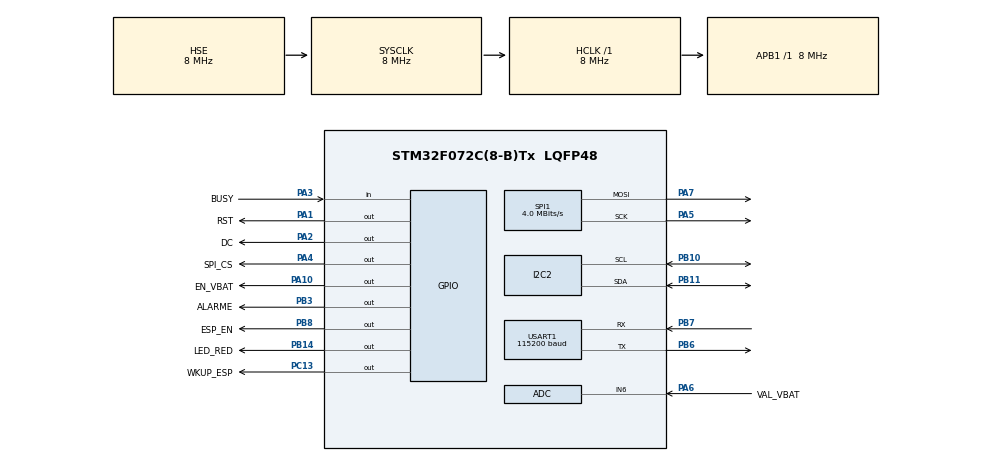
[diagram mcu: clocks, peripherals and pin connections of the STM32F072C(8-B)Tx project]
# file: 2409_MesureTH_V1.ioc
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Mcu.Family=STM32F0
Mcu.Name=STM32F072C(8-B)Tx
Mcu.Package=LQFP48
NVIC.TIM6_DAC_IRQn=true\:0\:0\:false\:false\:true\:true\:true\:true
PA1.GPIO_Label=RST
PA1.Signal=GPIO_Output
PA10.GPIO_Label=EN_VBAT
PA10.Signal=GPIO_Output
PA13.Mode=Serial_Wire
PA13.Signal=SYS_SWDIO
PA14.Mode=Serial_Wire
PA14.Signal=SYS_SWCLK
PA2.GPIO_Label=DC
PA2.Signal=GPIO_Output
PA3.GPIO_Label=BUSY
PA3.Signal=GPIO_Input
PA4.GPIO_Label=SPI_CS
PA4.PinState=GPIO_PIN_SET
PA4.Signal=GPIO_Output
PA5.Mode=TX_Only_Simplex_Unidirect_Master
PA5.Signal=SPI1_SCK
PA6.GPIO_Label=VAL_VBAT
PA6.Mode=IN6
PA6.Signal=ADC_IN6
PA7.Mode=TX_Only_Simplex_Unidirect_Master
PA7.Signal=SPI1_MOSI
PB10.Mode=I2C
PB10.Signal=I2C2_SCL
PB11.Mode=I2C
PB11.Signal=I2C2_SDA
PB14.GPIO_Label=LED_RED
PB14.Signal=GPIO_Output
PB3.GPIO_Label=ALARME
PB3.Signal=GPIO_Output
PB5.Mode=SYS_WakeUp5
PB5.Signal=SYS_WKUP6
PB6.Mode=Asynchronous
PB6.Signal=USART1_TX
PB7.Mode=Asynchronous
PB7.Signal=USART1_RX
PB8.GPIO_Label=ESP_EN
PB8.PinState=GPIO_PIN_SET
PB8.Signal=GPIO_Output
PC13.GPIO_Label=WKUP_ESP
PC13.Signal=GPIO_Output
PF0-OSC_IN.Mode=HSE-External-Oscillator
PF0-OSC_IN.Signal=RCC_OSC_IN
PF1-OSC_OUT.Mode=HSE-External-Oscillator
PF1-OSC_OUT.Signal=RCC_OSC_OUT
ProjectManager.HeapSize=0x1000
ProjectManager.StackSize=0x400
ProjectManager.TargetToolchain=MDK-ARM V5.32
RCC.AHBFreq_Value=8000000
RCC.APB1Freq_Value=8000000
RCC.APB1TimFreq_Value=8000000
RCC.EnbaleCSS=true
RCC.HCLKFreq_Value=8000000
RCC.PLLSourceVirtual=RCC_PLLSOURCE_HSE
RCC.SYSCLKFreq_VALUE=8000000
RCC.SYSCLKSource=RCC_SYSCLKSOURCE_HSE
SPI1.BaudRatePrescaler=SPI_BAUDRATEPRESCALER_2
SPI1.CalculateBaudRate=4.0 MBits/s
SPI1.DataSize=SPI_DATASIZE_8BIT
SPI1.Direction=SPI_DIRECTION_2LINES
SPI1.Mode=SPI_MODE_MASTER
SPI1.VirtualType=VM_MASTER
TIM6.Period=39999
TIM6.Prescaler=1
USART1.BaudRate=115200
USART1.VirtualMode-Asynchronous=VM_ASYNC
VP_RTC_VS_RTC_Activate.Mode=RTC_Enabled
VP_TIM6_VS_ClockSourceINT.Mode=Enable_Timer
board=custom

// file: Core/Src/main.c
/* USER CODE BEGIN Header */
/**
  ******************************************************************************
  * @file           : main.c
  * @brief          : Main program body
  ******************************************************************************
  * @attention
  *
  * Copyright (c) 2024 STMicroelectronics.
  * All rights reserved.
  *
  * This software is licensed under terms that can be found in the LICENSE file
  * in the root directory of this software component.
  * If no LICENSE file comes with this software, it is provided AS-IS.
  *
  ******************************************************************************
  */
/* USER CODE END Header */
#include "main.h"

/* USER CODE BEGIN Includes */
#include <stdbool.h>
//#include "stm32f0xx.h"
#include "mesures.h"
#include "affichage.h"
#include "gestionBatterie.h"
#include "communication.h"
#include "sommeil.h"
#include "EPD_2in13_V4.h" // TEMP
/* USER CODE END Includes */

ADC_HandleTypeDef hadc;

I2C_HandleTypeDef hi2c2;

RTC_HandleTypeDef hrtc;

SPI_HandleTypeDef hspi1;

TIM_HandleTypeDef htim6;

UART_HandleTypeDef huart1;

/* USER CODE BEGIN PV */

EtatSTM etatSTM = INITIALISATION;

// Variables mesures
Mesures mesures;

// https://www.arduino.cc/reference/en/language/variables/data-types/array/
DefinitionValeur valeursServeur[] = {
	{ "seuilTemperatureMin", 2 },
  { "seuilTemperatureMax", 8 },
  { "ecartTemperature", 1 },
  { "seuilHumiditeMin", 30 },
  { "seuilHumiditeMax", 60 },
  { "ecartHumidite", 5},
};

// Variables affichage
bool rafraichirEPaper = false;
bool receptionTramesEspTermine = false;

// Variables batterie
InfoBatterie infoBatterie;

/* USER CODE END PV */

void SystemClock_Config(void);
static void MX_GPIO_Init(void);
static void MX_ADC_Init(void);
static void MX_I2C2_Init(void);
static void MX_SPI1_Init(void);
static void MX_USART1_UART_Init(void);
static void MX_TIM6_Init(void);
static void MX_RTC_Init(void);

int main(void)
{

  /* MCU Configuration--------------------------------------------------------*/

  /* Reset of all peripherals, Initializes the Flash interface and the Systick. */
  HAL_Init();

  /* Configure the system clock */
  SystemClock_Config();

  /* Initialize all configured peripherals */
  MX_GPIO_Init();
  MX_ADC_Init();
  MX_I2C2_Init();
  MX_SPI1_Init();
  MX_USART1_UART_Init();
  MX_TIM6_Init();
  MX_RTC_Init();

  /* Infinite loop */
  while (1)
  {

    /* USER CODE BEGIN 3 */

		switch(etatSTM)
		{
			case INITIALISATION:
				Initialisation(); // Initialisation au lancement du STM
				etatSTM = RECEPTION; // Pret à recevoir les données de la part de l'ESP
				break;
			case RECEPTION:

				// Note: la fréquence d'exécution de l'état RECEPTION est lié au timeout de la réception UART (define UART_TIMEOUT)
				ReceptionnerTrameUART(&huart1, valeursServeur);

				// On vérifie que receptionTramesEspTermine pour être sûr qu'on a bien été réveillé par l'ESP
				// On vérifie que HAL_GPIO_ReadPin(REVEIL_GPIO_Port, REVEIL_Pin) est GPIO_PIN_RESET pour être sûr que l'ESP à fini d'envoyer ses trames UART
				if(receptionTramesEspTermine == true && HAL_GPIO_ReadPin(REVEIL_GPIO_Port, REVEIL_Pin) == GPIO_PIN_RESET)
				{
					receptionTramesEspTermine = false;
					etatSTM = VERIFIER_BATTERIE; // Passage à l'étape suivante
				}
				break;
			case VERIFIER_BATTERIE:
			{
				bool besoinMesurerEtatBatterie = GestionCheckBatterie(&hadc, &htim6, &infoBatterie);
				if(besoinMesurerEtatBatterie == true)
				{
					etatSTM = MESURER_BATTERIE; // Une mesure de l'état de la batterie est nécessaire
				}
				else
				{
					etatSTM = MESURER_SONDE;
				}
				break;
			}
			case MESURER_BATTERIE:
			{
				// Attente que le compteur décrémenté par l'interruption timer atteigne 0 (délai entre activation transistor et mesure)
				if(infoBatterie.compteurCheckBatterie <= 0)
				{
					Etat nouvelEtatBatterie = MesurerEtatBatterie(&hadc, &htim6, &infoBatterie); // Procéder à la mesure de l'état de la batterie
					if(nouvelEtatBatterie != infoBatterie.etatBatterie)
					{
						infoBatterie.etatBatterie = nouvelEtatBatterie;
						EnvoyerTrameUART(&huart1, ETAT_BATTERIE, infoBatterie.etatBatterie); // Indiquer à l'ESP que l'état de la batterie à changé
					}
					etatSTM = MESURER_SONDE;
				}
				break;
			}
			case MESURER_SONDE:
			{
				Etat nouvelEtatSeuils = EffectuerMesuresSonde(&hi2c2, &mesures, valeursServeur); // Procéder aux mesures de la température et de l'humidité
				if(nouvelEtatSeuils != mesures.etatSeuils)
				{
					mesures.etatSeuils = nouvelEtatSeuils;
					EnvoyerTrameUART(&huart1, ETAT_SEUILS, mesures.etatSeuils); // Indiquer à l'ESP que l'état de l'alarme à changé
				}

				// Indiquer à l'ESP qu'on a fini d'envoyer les trames UART pour qu'il puisse se rendormir (si ne l'est pas déjà)
				HAL_GPIO_WritePin(ALARME_GPIO_Port, ALARME_Pin, GPIO_PIN_RESET);

				// Si un rafraichissement de l'écran est nécessaire
				if(rafraichirEPaper == true)
				{
					etatSTM = RAFRAICHIR_EPAPER;
				}
				else
				{
					etatSTM = SOMMEIL;
				}

				break;
			}
			case RAFRAICHIR_EPAPER:
				rafraichirEPaper = false;
				AffichageEPaper(&mesures, valeursServeur); // Procéder au rafraichissement de l'écran
				etatSTM = SOMMEIL;
				break;
			case SOMMEIL:
				EntrerModeSommeil();
				etatSTM = REVEIL;
				break;
			case REVEIL:
				etatSTM = RECEPTION;
				break;
		}
  }
  /* USER CODE END 3 */
}

void SystemClock_Config(void)
{
  RCC_OscInitTypeDef RCC_OscInitStruct = {0};
  RCC_ClkInitTypeDef RCC_ClkInitStruct = {0};
  RCC_PeriphCLKInitTypeDef PeriphClkInit = {0};

  /** Initializes the RCC Oscillators according to the specified parameters
  * in the RCC_OscInitTypeDef structure.
  */
  RCC_OscInitStruct.OscillatorType = RCC_OSCILLATORTYPE_HSI14|RCC_OSCILLATORTYPE_LSI
                              |RCC_OSCILLATORTYPE_HSE;
  RCC_OscInitStruct.HSEState = RCC_HSE_ON;
  RCC_OscInitStruct.HSI14State = RCC_HSI14_ON;
  RCC_OscInitStruct.HSI14CalibrationValue = 16;
  RCC_OscInitStruct.LSIState = RCC_LSI_ON;
  RCC_OscInitStruct.PLL.PLLState = RCC_PLL_NONE;
  if (HAL_RCC_OscConfig(&RCC_OscInitStruct) != HAL_OK)
  {
    Error_Handler();
  }

  /** Initializes the CPU, AHB and APB buses clocks
  */
  RCC_ClkInitStruct.ClockType = RCC_CLOCKTYPE_HCLK|RCC_CLOCKTYPE_SYSCLK
                              |RCC_CLOCKTYPE_PCLK1;
  RCC_ClkInitStruct.SYSCLKSource = RCC_SYSCLKSOURCE_HSE;
  RCC_ClkInitStruct.AHBCLKDivider = RCC_SYSCLK_DIV1;
  RCC_ClkInitStruct.APB1CLKDivider = RCC_HCLK_DIV1;

  if (HAL_RCC_ClockConfig(&RCC_ClkInitStruct, FLASH_LATENCY_0) != HAL_OK)
  {
    Error_Handler();
  }
  PeriphClkInit.PeriphClockSelection = RCC_PERIPHCLK_USART1|RCC_PERIPHCLK_RTC;
  PeriphClkInit.Usart1ClockSelection = RCC_USART1CLKSOURCE_PCLK1;
  PeriphClkInit.RTCClockSelection = RCC_RTCCLKSOURCE_LSI;
  if (HAL_RCCEx_PeriphCLKConfig(&PeriphClkInit) != HAL_OK)
  {
    Error_Handler();
  }

  /** Enables the Clock Security System
  */
  HAL_RCC_EnableCSS();
}

static void MX_ADC_Init(void)
{

  ADC_ChannelConfTypeDef sConfig = {0};

  /** Configure the global features of the ADC (Clock, Resolution, Data Alignment and number of conversion)
  */
  hadc.Instance = ADC1;
  hadc.Init.ClockPrescaler = ADC_CLOCK_ASYNC_DIV1;
  hadc.Init.Resolution = ADC_RESOLUTION_12B;
  hadc.Init.DataAlign = ADC_DATAALIGN_RIGHT;
  hadc.Init.ScanConvMode = ADC_SCAN_DIRECTION_FORWARD;
  hadc.Init.EOCSelection = ADC_EOC_SINGLE_CONV;
  hadc.Init.LowPowerAutoWait = DISABLE;
  hadc.Init.LowPowerAutoPowerOff = DISABLE;
  hadc.Init.ContinuousConvMode = DISABLE;
  hadc.Init.DiscontinuousConvMode = DISABLE;
  hadc.Init.ExternalTrigConv = ADC_SOFTWARE_START;
  hadc.Init.ExternalTrigConvEdge = ADC_EXTERNALTRIGCONVEDGE_NONE;
  hadc.Init.DMAContinuousRequests = DISABLE;
  hadc.Init.Overrun = ADC_OVR_DATA_PRESERVED;
  if (HAL_ADC_Init(&hadc) != HAL_OK)
  {
    Error_Handler();
  }

  /** Configure for the selected ADC regular channel to be converted.
  */
  sConfig.Channel = ADC_CHANNEL_6;
  sConfig.Rank = ADC_RANK_CHANNEL_NUMBER;
  sConfig.SamplingTime = ADC_SAMPLETIME_1CYCLE_5;
  if (HAL_ADC_ConfigChannel(&hadc, &sConfig) != HAL_OK)
  {
    Error_Handler();
  }

}

static void MX_I2C2_Init(void)
{

  hi2c2.Instance = I2C2;
  hi2c2.Init.Timing = 0x2000090E;
  hi2c2.Init.OwnAddress1 = 0;
  hi2c2.Init.AddressingMode = I2C_ADDRESSINGMODE_7BIT;
  hi2c2.Init.DualAddressMode = I2C_DUALADDRESS_DISABLE;
  hi2c2.Init.OwnAddress2 = 0;
  hi2c2.Init.OwnAddress2Masks = I2C_OA2_NOMASK;
  hi2c2.Init.GeneralCallMode = I2C_GENERALCALL_DISABLE;
  hi2c2.Init.NoStretchMode = I2C_NOSTRETCH_DISABLE;
  if (HAL_I2C_Init(&hi2c2) != HAL_OK)
  {
    Error_Handler();
  }

  /** Configure Analogue filter
  */
  if (HAL_I2CEx_ConfigAnalogFilter(&hi2c2, I2C_ANALOGFILTER_ENABLE) != HAL_OK)
  {
    Error_Handler();
  }

  /** Configure Digital filter
  */
  if (HAL_I2CEx_ConfigDigitalFilter(&hi2c2, 0) != HAL_OK)
  {
    Error_Handler();
  }

}

static void MX_RTC_Init(void)
{

  /** Initialize RTC Only
  */
  hrtc.Instance = RTC;
  hrtc.Init.HourFormat = RTC_HOURFORMAT_24;
  hrtc.Init.AsynchPrediv = 127;
  hrtc.Init.SynchPrediv = 255;
  hrtc.Init.OutPut = RTC_OUTPUT_DISABLE;
  hrtc.Init.OutPutPolarity = RTC_OUTPUT_POLARITY_HIGH;
  hrtc.Init.OutPutType = RTC_OUTPUT_TYPE_OPENDRAIN;
  if (HAL_RTC_Init(&hrtc) != HAL_OK)
  {
    Error_Handler();
  }

}

static void MX_SPI1_Init(void)
{

  /* SPI1 parameter configuration*/
  hspi1.Instance = SPI1;
  hspi1.Init.Mode = SPI_MODE_MASTER;
  hspi1.Init.Direction = SPI_DIRECTION_2LINES;
  hspi1.Init.DataSize = SPI_DATASIZE_8BIT;
  hspi1.Init.CLKPolarity = SPI_POLARITY_LOW;
  hspi1.Init.CLKPhase = SPI_PHASE_1EDGE;
  hspi1.Init.NSS = SPI_NSS_SOFT;
  hspi1.Init.BaudRatePrescaler = SPI_BAUDRATEPRESCALER_2;
  hspi1.Init.FirstBit = SPI_FIRSTBIT_MSB;
  hspi1.Init.TIMode = SPI_TIMODE_DISABLE;
  hspi1.Init.CRCCalculation = SPI_CRCCALCULATION_DISABLE;
  hspi1.Init.CRCPolynomial = 7;
  hspi1.Init.CRCLength = SPI_CRC_LENGTH_DATASIZE;
  hspi1.Init.NSSPMode = SPI_NSS_PULSE_ENABLE;
  if (HAL_SPI_Init(&hspi1) != HAL_OK)
  {
    Error_Handler();
  }

}

static void MX_TIM6_Init(void)
{

  TIM_MasterConfigTypeDef sMasterConfig = {0};

  htim6.Instance = TIM6;
  htim6.Init.Prescaler = 1;
  htim6.Init.CounterMode = TIM_COUNTERMODE_UP;
  htim6.Init.Period = 39999;
  htim6.Init.AutoReloadPreload = TIM_AUTORELOAD_PRELOAD_DISABLE;
  if (HAL_TIM_Base_Init(&htim6) != HAL_OK)
  {
    Error_Handler();
  }
  sMasterConfig.MasterOutputTrigger = TIM_TRGO_RESET;
  sMasterConfig.MasterSlaveMode = TIM_MASTERSLAVEMODE_DISABLE;
  if (HAL_TIMEx_MasterConfigSynchronization(&htim6, &sMasterConfig) != HAL_OK)
  {
    Error_Handler();
  }

}

static void MX_USART1_UART_Init(void)
{

  huart1.Instance = USART1;
  huart1.Init.BaudRate = 115200;
  huart1.Init.WordLength = UART_WORDLENGTH_8B;
  huart1.Init.StopBits = UART_STOPBITS_1;
  huart1.Init.Parity = UART_PARITY_NONE;
  huart1.Init.Mode = UART_MODE_TX_RX;
  huart1.Init.HwFlowCtl = UART_HWCONTROL_NONE;
  huart1.Init.OverSampling = UART_OVERSAMPLING_16;
  huart1.Init.OneBitSampling = UART_ONE_BIT_SAMPLE_DISABLE;
  huart1.AdvancedInit.AdvFeatureInit = UART_ADVFEATURE_NO_INIT;
  if (HAL_UART_Init(&huart1) != HAL_OK)
  {
    Error_Handler();
  }

}

static void MX_GPIO_Init(void)
{
  GPIO_InitTypeDef GPIO_InitStruct = {0};

  /* GPIO Ports Clock Enable */
  __HAL_RCC_GPIOC_CLK_ENABLE();
  __HAL_RCC_GPIOF_CLK_ENABLE();
  __HAL_RCC_GPIOA_CLK_ENABLE();
  __HAL_RCC_GPIOB_CLK_ENABLE();

  /*Configure GPIO pin Output Level */
  HAL_GPIO_WritePin(WKUP_ESP_GPIO_Port, WKUP_ESP_Pin, GPIO_PIN_RESET);

  /*Configure GPIO pin Output Level */
  HAL_GPIO_WritePin(GPIOA, RST_Pin|DC_Pin|EN_VBAT_Pin, GPIO_PIN_RESET);

  /*Configure GPIO pin Output Level */
  HAL_GPIO_WritePin(SPI_CS_GPIO_Port, SPI_CS_Pin, GPIO_PIN_SET);

  /*Configure GPIO pin Output Level */
  HAL_GPIO_WritePin(GPIOB, LED_RED_Pin|ALARME_Pin, GPIO_PIN_RESET);

  /*Configure GPIO pin Output Level */
  HAL_GPIO_WritePin(ESP_EN_GPIO_Port, ESP_EN_Pin, GPIO_PIN_SET);

  /*Configure GPIO pin : WKUP_ESP_Pin */
  GPIO_InitStruct.Pin = WKUP_ESP_Pin;
  GPIO_InitStruct.Mode = GPIO_MODE_OUTPUT_PP;
  GPIO_InitStruct.Pull = GPIO_NOPULL;
  GPIO_InitStruct.Speed = GPIO_SPEED_FREQ_LOW;
  HAL_GPIO_Init(WKUP_ESP_GPIO_Port, &GPIO_InitStruct);

  /*Configure GPIO pins : RST_Pin DC_Pin SPI_CS_Pin EN_VBAT_Pin */
  GPIO_InitStruct.Pin = RST_Pin|DC_Pin|SPI_CS_Pin|EN_VBAT_Pin;
  GPIO_InitStruct.Mode = GPIO_MODE_OUTPUT_PP;
  GPIO_InitStruct.Pull = GPIO_NOPULL;
  GPIO_InitStruct.Speed = GPIO_SPEED_FREQ_LOW;
  HAL_GPIO_Init(GPIOA, &GPIO_InitStruct);

  /*Configure GPIO pin : BUSY_Pin */
  GPIO_InitStruct.Pin = BUSY_Pin;
  GPIO_InitStruct.Mode = GPIO_MODE_INPUT;
  GPIO_InitStruct.Pull = GPIO_NOPULL;
  HAL_GPIO_Init(BUSY_GPIO_Port, &GPIO_InitStruct);

  /*Configure GPIO pins : LED_RED_Pin ALARME_Pin ESP_EN_Pin */
  GPIO_InitStruct.Pin = LED_RED_Pin|ALARME_Pin|ESP_EN_Pin;
  GPIO_InitStruct.Mode = GPIO_MODE_OUTPUT_PP;
  GPIO_InitStruct.Pull = GPIO_NOPULL;
  GPIO_InitStruct.Speed = GPIO_SPEED_FREQ_LOW;
  HAL_GPIO_Init(GPIOB, &GPIO_InitStruct);

}

/* USER CODE BEGIN 4 */

////---------------------------------------------------------------------------------

//// Fonction Initialisation
//// Description: Logique utilisée pour initialiser le système (initialisation des variables, calibration ADC, initialisation de la gestion du mode sommeil)
//// Entrées: -
//// Sorties: -
void Initialisation()
{
	mesures.etatSeuils = INDEFINI; // Pour s'assurer qu'un changement d'état de seuils aura bien lieu au lancement du programme

	infoBatterie.etatBatterie = INDEFINI; // Pour s'assurer qu'un changement d'état de batterie aura bien lieu au lancement du programme
	infoBatterie.compteurCheckBatterie = 0; // Pour s'assurer qu'une vérification de l'état de la  batterie ait lieu au lancement du programme

	HAL_ADCEx_Calibration_Start(&hadc); // Calibration ADC (utilisé pour vérifier l'état de la batterie)

	InitialiserGestionSommeil();
}

//// Fonction HAL_TIM_PeriodElapsedCallback: interruption Timer
//// Description: fonction d'interruption du timer (délai entre activation transistor et mesure de l'état de la batterie)
//// Entrées: Pointeur:TIM_HandleTypeDef htim
//// Sorties: -
void HAL_TIM_PeriodElapsedCallback(TIM_HandleTypeDef *htim)
{
	// Decompte du compteur utilisé pour le délai entre l'activation du transistor et la mesure de l'état de la batterie
	if(etatSTM == MESURER_BATTERIE)
	{
		if(infoBatterie.compteurCheckBatterie > 0)
		{
			infoBatterie.compteurCheckBatterie--;
		}

	// Quand le compteur vaudra 0
	// Ce sera le moment de mesurer la tension de la batterie (à la prochaine exécution de la boucle main)
	}
}

//// Fonction EXTI4_15_IRQHandler: interruption pins GPIO
//// Description: fonction d'interruptioin de la pin utilisée par l'ESP pour réveiller le STM
//// Entrées: -
//// Sorties: -
void EXTI4_15_IRQHandler(void)
{
	if(HAL_GPIO_ReadPin(REVEIL_GPIO_Port, REVEIL_Pin) == GPIO_PIN_SET)
	{
		receptionTramesEspTermine = true; // Indique que l'ESP à fini d'envoyer ses éventuelles trames UART
	}

	// Pour s'assurer que l'état de l'interruption soit bien réinitialisé
	HAL_NVIC_ClearPendingIRQ(EXTI4_15_IRQn);
	__HAL_GPIO_EXTI_CLEAR_FLAG(GPIO_PIN_5);
}

/* USER CODE END 4 */

void Error_Handler(void)
{
  __disable_irq();
  while (1)
  {
  }
}
